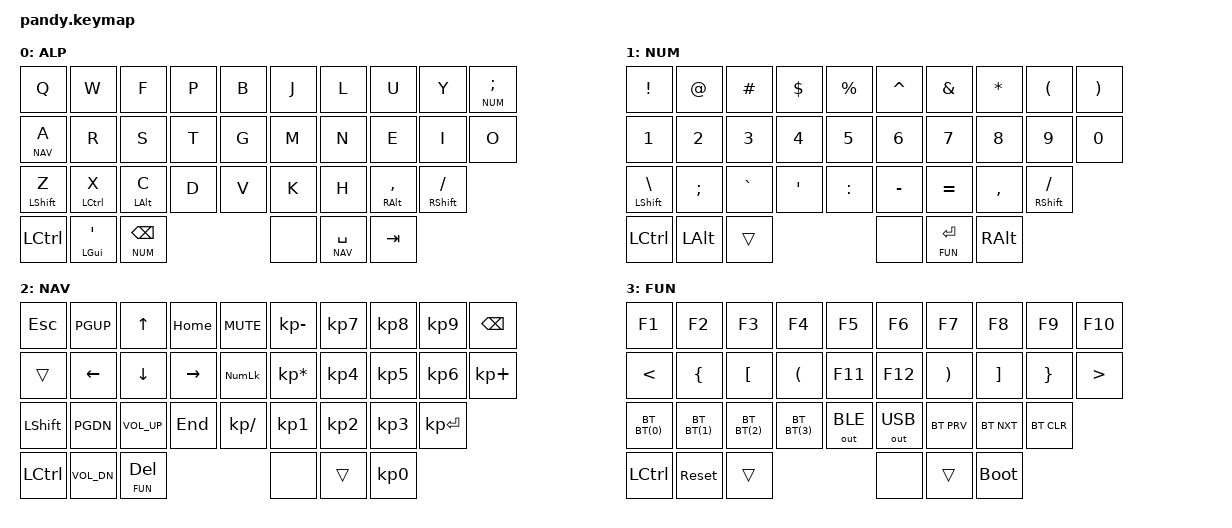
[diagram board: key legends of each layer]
/*
 * Copyright (c) 2020 The ZMK Contributors
 *
 * SPDX-License-Identifier: MIT
 */
#include <behaviors.dtsi>
#include <dt-bindings/zmk/keys.h>
#include <dt-bindings/zmk/bt.h>
#include <dt-bindings/zmk/outputs.h>

#define ALP 0
#define NUM 1
#define NAV 2
#define FUN 3

#define BT(n) BT_SEL n

// Using layer taps on thumbs, having quick tap as well helps w/ repeating space/backspace
&lt { quick_tap_ms = <200>; };

/ {
    behaviors {
        hm: homerow_mods {
            compatible = "zmk,behavior-hold-tap";
            label = "homerow mods";
            #binding-cells = <2>;
            tapping-term-ms = <175>;
            flavor = "tap-preferred";
            bindings = <&kp>, <&kp>;
        };
    };
};

/ {
    combos {
        compatible = "zmk,combos";
        combo_ctrlDot {
            timeout-ms = <50>;
            key-positions = <27 28>;
            layers = <0 1>;
            bindings = <&mt RCTRL DOT>;
        };
    };
};

/ {
    keymap {
        compatible = "zmk,keymap";

        ALP {
            bindings = <
    &kp Q          &kp W          &kp F          &kp P          &kp B          &kp J          &kp L          &kp U          &kp Y       &lt NUM SEMI 
    &lt NAV A      &kp R          &kp S          &kp T          &kp G          &kp M          &kp N          &kp E          &kp I       &kp O
    &hm LSHFT Z    &hm LCTRL X    &hm LALT C     &kp D          &kp V          &kp K          &kp H          &hm RALT COMMA &hm RSHFT FSLH
	&kp LCTRL      &hm LGUI SQT             &lt NUM BSPC        &none                    &lt NAV SPACE  &kp TAB
            >;
        };
		
        NUM {
            bindings = <
    &kp EXCL       &kp AT         &kp HASH       &kp DLLR       &kp PRCNT      &kp CARET      &kp AMPS       &kp STAR       &kp LPAR       &kp RPAR
    &kp N1         &kp N2         &kp N3         &kp N4         &kp N5         &kp N6         &kp N7         &kp N8         &kp N9         &kp N0
    &hm LSHFT BSLH &kp SEMI       &kp GRAVE      &kp SQT        &kp COLON      &kp MINUS      &kp EQUAL      &kp COMMA      &hm RSHFT FSLH
	&kp LCTRL      &kp LALT                 &trans              &none                    &lt FUN RET    &kp RALT
            >;
        };
		
        NAV {
            bindings = <
    &kp ESC        &kp PGUP       &kp UP         &kp HOME       &kp C_MUTE     &kp KP_MINUS    &kp KP_N7     &kp KP_N8      &kp KP_N9      &kp BSPC
    &trans         &kp LEFT       &kp DOWN       &kp RIGHT      &kp KP_NUM     &kp KP_ASTERISK &kp KP_N4     &kp KP_N5      &kp KP_N6      &kp KP_PLUS
    &kp LSHFT      &kp PGDN       &kp C_VOL_UP   &kp END        &kp KP_DIVIDE  &kp KP_N1      &kp KP_N2      &kp KP_N3      &kp KP_ENTER
	&kp LCTRL      &kp C_VOL_DN             &lt FUN DEL         &none                    &trans         &kp KP_N0
            >;
        };
		
        FUN {
            bindings = <
    &kp F1         &kp F2         &kp F3         &kp F4         &kp F5         &kp F6         &kp F7         &kp F8         &kp F9         &kp F10
    &kp LT         &kp LBRC       &kp LBKT       &kp LPAR       &kp F11        &kp F12        &kp RPAR       &kp RBKT       &kp RBRC       &kp GT
    &bt BT(0)      &bt BT(1)      &bt BT(2)      &bt BT(3)      &out OUT_BLE   &out OUT_USB   &bt BT_PRV     &bt BT_NXT     &bt BT_CLR
    &kp LCTRL      &sys_reset               &trans              &none                    &trans         &bootloader
            >;
        };
    };
};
